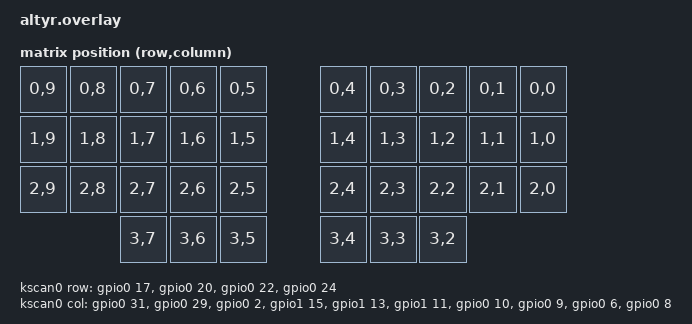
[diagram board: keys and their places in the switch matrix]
/*
 * Copyright (c) 2025
 * SPDX-License-Identifier: MIT
 */

#include <dt-bindings/zmk/matrix_transform.h>

/ {
    chosen {
        zmk,kscan = &kscan0;
        zmk,matrix_transform = &default_transform;
    };

    default_transform: keymap_transform_0 {
        compatible = "zmk,matrix-transform";
        columns = <10>;
        rows = <4>;

        map = <
            RC(0,9) RC(0,8) RC(0,7) RC(0,6) RC(0,5) RC(0,4) RC(0,3) RC(0,2) RC(0,1) RC(0,0)
            RC(1,9) RC(1,8) RC(1,7) RC(1,6) RC(1,5) RC(1,4) RC(1,3) RC(1,2) RC(1,1) RC(1,0)
            RC(2,9) RC(2,8) RC(2,7) RC(2,6) RC(2,5) RC(2,4) RC(2,3) RC(2,2) RC(2,1) RC(2,0)
                            RC(3,7) RC(3,6) RC(3,5) RC(3,4) RC(3,3) RC(3,2)
        >;
    };

    keys {
        compatible = "gpio-keys";
        soft_off_gpio_key: soft_off_gpio_key {
            gpios = <&gpio0 17 (GPIO_ACTIVE_HIGH | GPIO_PULL_DOWN)>;
        };
    };

    wakeup_scan: wakeup_scan {
        compatible = "zmk,gpio-key-wakeup-trigger";
        trigger = <&soft_off_gpio_key>;
        wakeup-source;
        extra-gpios = <&gpio0 31 GPIO_ACTIVE_HIGH>;
    };

    soft_off_wakers {
        compatible = "zmk,soft-off-wakeup-sources";
        wakeup-sources = <&wakeup_scan>;
    };

    // Alias so nice_view.overlay can find it
    aliases {
        nice-view-spi = &spi0;
    };

    kscan0: kscan {
        compatible = "zmk,kscan-gpio-matrix";
        label = "KSCAN";
        diode-direction = "col2row";
        wakeup-source;
        
        row-gpios
            = <&gpio0 17 (GPIO_ACTIVE_HIGH | GPIO_PULL_DOWN)>  // ROW0 - D2 (left side)
            , <&gpio0 20 (GPIO_ACTIVE_HIGH | GPIO_PULL_DOWN)>  // ROW1 - D3 (left side)
            , <&gpio0 22 (GPIO_ACTIVE_HIGH | GPIO_PULL_DOWN)>  // ROW2 - D4 (left side)
            , <&gpio0 24 (GPIO_ACTIVE_HIGH | GPIO_PULL_DOWN)>  // ROW3 - D5 (left side)
            ;
        
        col-gpios
            = <&gpio0 31 GPIO_ACTIVE_HIGH>  // COL0 - D21 (right side)
            , <&gpio0 29 GPIO_ACTIVE_HIGH>  // COL1 - D20 (right side)
            , <&gpio0 2  GPIO_ACTIVE_HIGH>  // COL2 - D19 (right side)
            , <&gpio1 15 GPIO_ACTIVE_HIGH>  // COL3 - D18 (right side)
            , <&gpio1 13 GPIO_ACTIVE_HIGH>  // COL4 - D15 (right side)
            , <&gpio1 11 GPIO_ACTIVE_HIGH>  // COL5 - D14 (left side)
            , <&gpio0 10 GPIO_ACTIVE_HIGH>  // COL6 - D16 (left side)
            , <&gpio0 9  GPIO_ACTIVE_HIGH>  // COL7 - D10 (left side)
            , <&gpio0 6  GPIO_ACTIVE_HIGH>  // COL8 - D1 (left side)
            , <&gpio0 8  GPIO_ACTIVE_HIGH>  // COL9 - D0 (left side)
            ;
    };
};

// SPI configuration
&pinctrl {
    spi0_default: spi0_default {
        group1 {
            psels = <NRF_PSEL(SPIM_SCK, 1, 4)>,     // SCK on P1.04 (D8)
                    <NRF_PSEL(SPIM_MOSI, 1, 6)>,    // MOSI on P1.06 (D9)
                    <NRF_PSEL(SPIM_MISO, 0, 26)>;   // MISO on P0.26 (unused but required)
        };
    };

    spi0_sleep: spi0_sleep {
        group1 {
            psels = <NRF_PSEL(SPIM_SCK, 1, 4)>,
                    <NRF_PSEL(SPIM_MOSI, 1, 6)>,
                    <NRF_PSEL(SPIM_MISO, 0, 26)>;
            low-power-enable;
        };
    };
};

&spi0 {
    status = "okay";
    compatible = "nordic,nrf-spim";
    pinctrl-0 = <&spi0_default>;
    pinctrl-1 = <&spi0_sleep>;
    pinctrl-names = "default", "sleep";
    cs-gpios = <&gpio0 11 GPIO_ACTIVE_HIGH>;  // CS on P0.11 (D7)

    ls0xx: ls0xx@0 {
        compatible = "sharp,ls0xx";
        label = "DISPLAY";
        spi-max-frequency = <2000000>;
        reg = <0>;
        width = <160>;
        height = <68>;
    };
};

// Create the nice_view_spi label that nice_view.overlay expects
nice_view_spi: &spi0 {};
